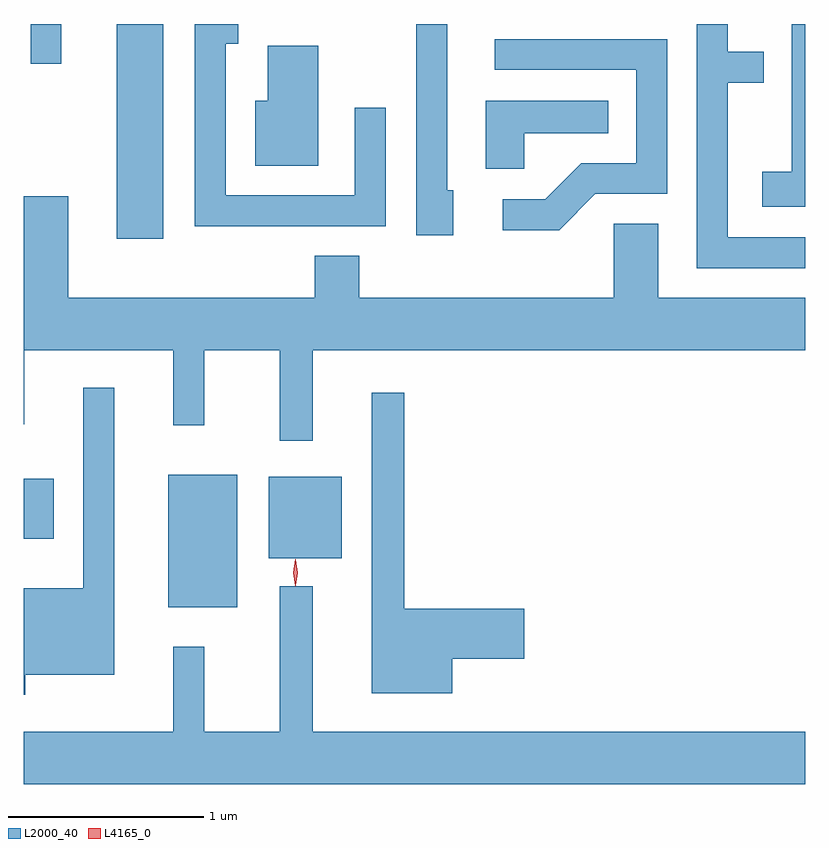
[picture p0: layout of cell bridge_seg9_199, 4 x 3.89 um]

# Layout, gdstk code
import gdstk
lib = gdstk.Library(unit=1e-6, precision=1e-09)
def R(c, l, rs):  # rectangles x0, y0, x1, y1
    for r in rs: c.add(gdstk.rectangle(r[:2], r[2:], *l))
def P(c, l, *ps):  # polygons
    for p in ps: c.add(gdstk.Polygon(p, *l))
L2000_40 = (2000, 40)
L4165_0 = (4165, 0)

bridge_seg9_199 = lib.new_cell('bridge_seg9_199')
R(bridge_seg9_199, L2000_40, [(1124.981,1959.421,1125.334,1960.099), (1125.496,1959.671,1125.869,1960.089), (1124.241,1959.771,1124.394,1960.079), (1124.716,1961.306,1124.954,1962.406), (1124.276,1962.203,1124.434,1962.406)])
P(bridge_seg9_199, L2000_40, [(1128.241,1962.406),(1128.171,1962.406),(1128.171,1961.649),(1128.021,1961.649),(1128.021,1961.471),(1128.241,1961.471)],
  [(1126.439,1961.554),(1126.409,1961.554),(1126.409,1962.406),(1126.251,1962.406),(1126.251,1961.326),(1126.439,1961.326)],
  [(1128.241,1961.314),(1127.844,1961.314),(1127.844,1962.106),(1128.028,1962.106),(1128.028,1962.264),(1127.844,1962.264),(1127.844,1962.406),(1127.686,1962.406),(1127.686,1961.156),(1128.241,1961.156)],
  [(1126.094,1961.978),(1125.936,1961.978),(1125.936,1961.529),(1125.274,1961.529),(1125.274,1962.306),(1125.339,1962.306),(1125.339,1962.406),(1125.116,1962.406),(1125.116,1961.371),(1126.094,1961.371)],
  [(1127.167,1961.536),(1127.534,1961.536),(1127.534,1962.329),(1126.653,1962.329),(1126.653,1962.171),(1127.376,1962.171),(1127.376,1961.694),(1127.094,1961.694),(1126.909,1961.509),(1126.693,1961.509),(1126.693,1961.351),(1126.982,1961.351)],
  [(1125.749,1962.294),(1125.491,1962.294),(1125.491,1962.014),(1125.426,1962.014),(1125.426,1961.681),(1125.749,1961.681)],
  [(1126.804,1961.846),(1127.233,1961.846),(1127.233,1962.014),(1126.606,1962.014),(1126.606,1961.666),(1126.804,1961.666)],
  [(1125.719,1960.736),(1128.241,1960.736),(1128.241,1961.004),(1127.489,1961.004),(1127.489,1961.384),(1127.261,1961.384),(1127.261,1961.004),(1125.959,1961.004),(1125.959,1961.219),(1125.731,1961.219),(1125.731,1961.004),(1124.469,1961.004),(1124.469,1961.524),(1124.241,1961.524),(1124.241,1960.358),(1124.244,1960.358),(1124.244,1960.736),(1125.006,1960.736),(1125.006,1960.353),(1125.164,1960.353),(1125.164,1960.736),(1125.551,1960.736),(1125.551,1960.273),(1125.719,1960.273)],
  [(1124.249,1959.076),(1124.704,1959.076),(1124.704,1960.543),(1124.546,1960.543),(1124.546,1959.519),(1124.241,1959.519),(1124.241,1958.973),(1124.249,1958.973)],
  [(1126.434,1959.156),(1126.804,1959.156),(1126.804,1959.414),(1126.189,1959.414),(1126.189,1960.518),(1126.021,1960.518),(1126.021,1958.981),(1126.434,1958.981)],
  [(1128.241,1958.784),(1125.719,1958.784),(1125.719,1959.528),(1125.551,1959.528),(1125.551,1958.784),(1125.164,1958.784),(1125.164,1959.218),(1125.006,1959.218),(1125.006,1958.784),(1124.241,1958.784),(1124.241,1958.516),(1128.241,1958.516)])
P(bridge_seg9_199, L4165_0, [(1125.631,1959.529),(1125.631,1959.53),(1125.621,1959.598),(1125.631,1959.666),(1125.631,1959.666),(1125.632,1959.666),(1125.641,1959.598),(1125.632,1959.53)],
  [(1125.633,1959.533),(1125.633,1959.533),(1125.623,1959.597),(1125.633,1959.661),(1125.633,1959.662),(1125.634,1959.661),(1125.643,1959.597),(1125.634,1959.533)])

lib.write_gds('bridge_seg9_199.gds')
